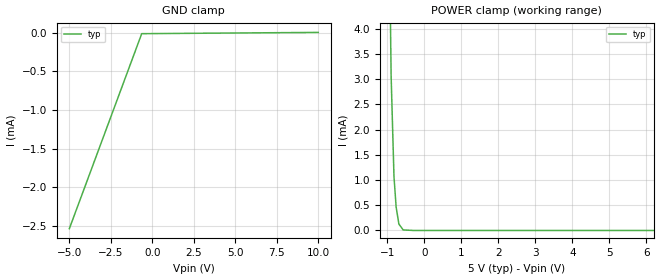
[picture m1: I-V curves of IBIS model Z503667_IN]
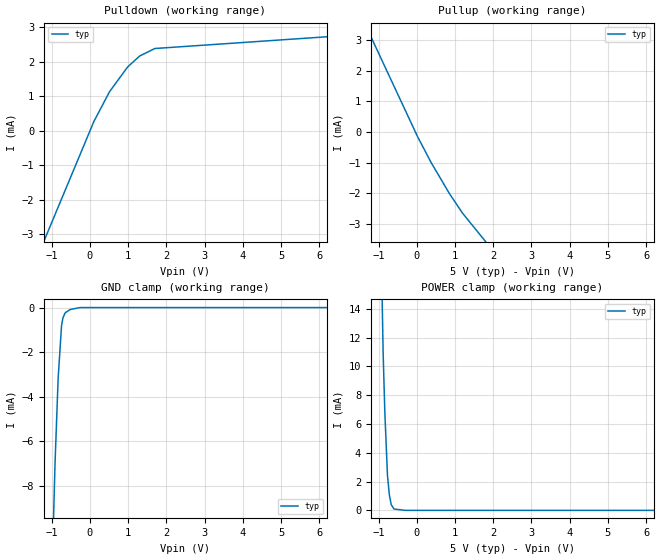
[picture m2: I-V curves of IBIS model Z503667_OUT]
| YOU ARE ONLY AUTHORIZED TO USE THIS SOFTWARE
| ACCORDING TO LICENSOR'S LICENSE RESTRICTIONS.
[IBIS Ver] 3.1
[File Name] mc14555bcl.ibs
[File Rev] 2.0
[Source] Measured and created by ICX Technology
[Date] Friday 7/14/00 9:07:57 AM
[Copyright]
| (C) COPYRIGHT 1993-2000
| MENTOR GRAPHICS CORPORATION
| ICX STANDARD LIBRARY, ICX PROJECT MODELING,
| ICX CUSTOM MODELING, ICX VENDOR MODEL
| ALL RIGHTS RESERVED.
| THE FOLLOWING ARE TRADEMARKS OR SERVICE MARKS OF
| MENTOR GRAPHICS CORPORATION:ICX (R), ICX STANDARD
| LIBRARY(R), ICX PROJECT MODELING(R), ICX CUSTOM
| MODELING(R), qualityIBIS(TM), MODELVIEWER(TM),
| AND MODELEDITOR(TM)
| ALL COPIES OF SOFTWARE, INCLUDING BUT NOT LIMITED TO
| ANY MODIFICATIONS, ENHANCEMENTS OR DERIVATIVE WORKS,
| MUST CONTAIN ALL MENTOR GRAPHICS CORPORATION'S
| NOTICES AND LEGENDS, INCLUDING THOSE EMBEDDED IN
| SOFTWARE AND THOSE AFFIXED TO SOFTWARE MEDIUM
| AND CONTAINER, AS RECEIVED FROM MENTOR GRAPHICS
| CORPORATION.
|  ZAP Model Builder 2.7
[Component] MC14555BCL
[Manufacturer] OnSemiconductor
[Package]
| variable   typ   min   max
R_pkg  .212ohms NA NA
L_pkg  4.758nH NA NA
C_pkg  1.944pF NA NA
[Pin] signal_name  model_name  R_pin  L_pin C_pin
1 _E Z503667_IN .224 7.258n 2.683p
2 A1 Z503667_IN .216 5.258n 2.19p
3 B1 Z503667_IN .208 3.758n 1.697p
4 Q0A Z503667_OUT .2 2.758n 1.204p
5 Q1A Z503667_OUT .2 2.758n 1.204p
6 Q2A Z503667_OUT .208 3.758n 1.697p
7 Q3A Z503667_OUT .216 5.258n 2.19p
8 VSS POWER .224 7.258n 2.683p
9 Q3B Z503667_OUT .224 7.258n 2.683p
10 Q2B Z503667_OUT .216 5.258n 2.19p
11 Q1B Z503667_OUT .208 3.758n 1.697p
12 Q0B Z503667_OUT .2 2.758n 1.204p
13 B2 Z503667_IN .2 2.758n 1.204p
14 A2 Z503667_IN .208 3.758n 1.697p
15 _E Z503667_IN .216 5.258n 2.19p
16 VDD POWER .224 7.258n 2.683p
| Models and submodels in the file (2): Z503667_IN (Input), Z503667_OUT (Output)
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| (C) COPYRIGHT 1993-2000
| MENTOR GRAPHICS CORPORATION
| ICX STANDARD LIBRARY, ICX PROJECT MODELING,
| ICX CUSTOM MODELING, ICX VENDOR MODEL
| ALL RIGHTS RESERVED.
| THE FOLLOWING ARE TRADEMARKS OR SERVICE MARKS OF
| MENTOR GRAPHICS CORPORATION:ICX (R), ICX STANDARD
| LIBRARY(R), ICX PROJECT MODELING(R), ICX CUSTOM
| MODELING(R), qualityIBIS(TM), MODELVIEWER(TM),
| AND MODELEDITOR(TM)
| ALL COPIES OF SOFTWARE, INCLUDING BUT NOT LIMITED TO
| ANY MODIFICATIONS, ENHANCEMENTS OR DERIVATIVE WORKS,
| MUST CONTAIN ALL MENTOR GRAPHICS CORPORATION'S
| NOTICES AND LEGENDS, INCLUDING THOSE EMBEDDED IN
| SOFTWARE AND THOSE AFFIXED TO SOFTWARE MEDIUM
| AND CONTAINER, AS RECEIVED FROM MENTOR GRAPHICS
| CORPORATION.
| Model Application Version 1.89 2/18/99.
[Model] Z503667_IN
Model_type Input
Vinl = 1.500V
Vinh = 3.500V
C_comp 4.000pF NA NA
| variable typ   min   max
[Voltage Range] 5.000V NA NA
[GND Clamp Reference] 0.000V NA NA
[POWER Clamp Reference] 5.000V NA NA
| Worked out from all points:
|   POWER clamp passes 1 mA (typ) near -0.81 V on its own axis
[GND Clamp]
-5V       -2.537mA   NA         NA
-639.5mV  -13.11uA   NA         NA
10V       3.423uA    NA         NA
[POWER Clamp]
-5V       386.3mA    NA         NA
-1.011V   9.738mA    NA         NA
-897mV    3.051mA    NA         NA
-820mV    1.065mA    NA         NA
-762mV    466.1uA    NA         NA
-688mV    127.5uA    NA         NA
-571mV    10.54uA    NA         NA
-285.5mV  0A         NA         NA
10V       0A         NA         NA
| (C) COPYRIGHT 1993-2000
| MENTOR GRAPHICS CORPORATION
| ICX STANDARD LIBRARY, ICX PROJECT MODELING,
| ICX CUSTOM MODELING, ICX VENDOR MODEL
| ALL RIGHTS RESERVED.
| THE FOLLOWING ARE TRADEMARKS OR SERVICE MARKS OF
| MENTOR GRAPHICS CORPORATION:ICX (R), ICX STANDARD
| LIBRARY(R), ICX PROJECT MODELING(R), ICX CUSTOM
| MODELING(R), qualityIBIS(TM), MODELVIEWER(TM),
| AND MODELEDITOR(TM)
| ALL COPIES OF SOFTWARE, INCLUDING BUT NOT LIMITED TO
| ANY MODIFICATIONS, ENHANCEMENTS OR DERIVATIVE WORKS,
| MUST CONTAIN ALL MENTOR GRAPHICS CORPORATION'S
| NOTICES AND LEGENDS, INCLUDING THOSE EMBEDDED IN
| SOFTWARE AND THOSE AFFIXED TO SOFTWARE MEDIUM
| AND CONTAINER, AS RECEIVED FROM MENTOR GRAPHICS
| CORPORATION.
| Model Application Version 1.89 2/18/99.
[Model] Z503667_OUT
Model_type Output
Vref=0.000V
Rref=500.0Mohms
Cref=50.00pF
Vmeas=2.500V
C_comp 8.000pF NA NA
| variable typ   min   max
[Voltage Range] 5.000V NA NA
[POWER Clamp Reference] 5.000V NA NA
[Pullup Reference] 5.000V NA NA
[Pulldown Reference] 0.000V NA NA
[GND Clamp Reference] 0.000V NA NA
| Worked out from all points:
|   slope of the pulldown table from 0 to 0.75 V, typ, clamps not added: 501 ohm
|   slope of the pullup table from 0 to 0.75 V, typ, clamps not added: 443 ohm
|   GND clamp passes 1 mA (typ) near -0.75 V on its own axis
|   POWER clamp passes 1 mA (typ) near -0.71 V on its own axis
[GND Clamp]
-5V       -269.5mA   NA         NA
-912.4mV  -6.999mA   NA         NA
-830.4mV  -3.168mA   NA         NA
-742mV    -816.3uA   NA         NA
-705.1mV  -461.3uA   NA         NA
-644.8mV  -234.4uA   NA         NA
-516mV    -87.43uA   NA         NA
-258mV    0A         NA         NA
10V       0A         NA         NA
[Pulldown]
-5V       -13.29mA   NA         NA
104.6mV   265.3uA    NA         NA
515mV     1.13mA     NA         NA
989.2mV   1.847mA    NA         NA
1.303V    2.163mA    NA         NA
1.699V    2.38mA     NA         NA
10V       3.008mA    NA         NA
[Pullup]
-5V       13.28mA    NA         NA
24mV      -157.1uA   NA         NA
376mV     -994.9uA   NA         NA
862mV     -2.025mA   NA         NA
1.196V    -2.646mA   NA         NA
10V       -16.2mA    NA         NA
[POWER Clamp]
-5V       598.8mA    NA         NA
-879mV    10.83mA    NA         NA
-836mV    6.857mA    NA         NA
-767mV    2.448mA    NA         NA
-718mV    1.087mA    NA         NA
-669mV    400.3uA    NA         NA
-596mV    91.44uA    NA         NA
-298mV    0A         NA         NA
10V       0A         NA         NA
[Ramp]
| variable typ min max
dV/dt_r 2.568/19.07n NA NA
dV/dt_f 2.568/19.61n NA NA
R_load = 2.500kOhms
